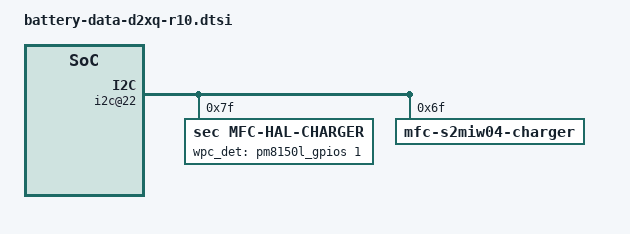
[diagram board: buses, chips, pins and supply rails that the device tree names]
/* Copyright (c) 2014, The Linux Foundation. All rights reserved.
 *
 * This program is free software; you can redistribute it and/or modify
 * it under the terms of the GNU General Public License version 2 and
 * only version 2 as published by the Free Software Foundation.
 *
 * This program is distributed in the hope that it will be useful,
 * but WITHOUT ANY WARRANTY; without even the implied warranty of
 * MERCHANTABILITY or FITNESS FOR A PARTICULAR PURPOSE.  See the
 * GNU General Public License for more details.
 */

/* This dtsi is for hw rev from 08 to 09 */
#include "battery-data-d2xq-common.dtsi"
#include "battery-rx-data-d2q-idt.dtsi"
#include "battery-rx-data-d2q-lsi.dtsi"

&soc {
	i2c@22 {
		mfc-hal-charger@7f {
			compatible = "sec,mfc-hal-charger";
			reg = <0x7f>;
			status = "okay";

			battery,wpc_det = <&pm8150l_gpios 1 GPIO_ACTIVE_HIGH>; /* WPC_DET */

			battery,charger_name = "max77705-charger";
		};

		mfc-s2miw04-charger@3b {
			reg = <0x6f>;
		};
	};
};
